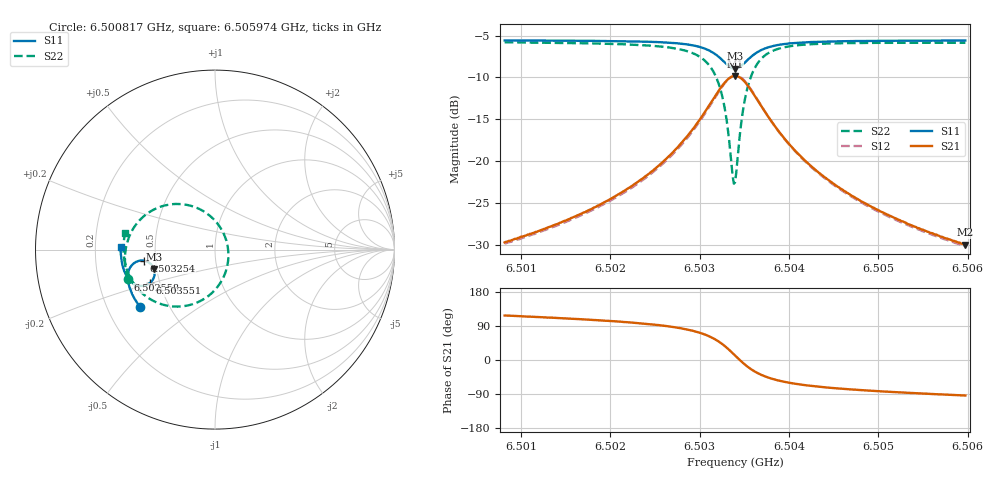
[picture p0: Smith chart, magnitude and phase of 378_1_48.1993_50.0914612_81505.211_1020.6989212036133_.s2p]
#  HZ  S  RI  R  50.00
! Rohde & Schwarz Vector Network Analyzer
! Rohde-Schwarz,ZNB20-2Port,1311601062101988,3.16
! Created: UTC 3/20/2024, 11:52:59 AM
! freq[Hz]  re:S11  im:S11  re:S21  im:S21  re:S12  im:S12  re:S22  im:S22
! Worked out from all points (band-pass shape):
!   401 points, 6.500817 GHz to 6.505974 GHz, reference 50 ohm
!   highest |S21| = -9.82 dB at 6.503396 GHz (marker M1); lowest = -30.0 dB at 6.505974 GHz (marker M2)
!   |S21| within 3 dB of the highest: 6.503138 GHz to 6.503654 GHz (515.9 kHz wide, 0.00793 % of centre)
!   lowest |S11| = -9.0 dB at 6.503396 GHz (marker M3), VSWR 2.11, Z = 24.2 - j6.08 ohm
!   |S11| at or under -10 dB: nowhere
!   |S22| runs from -22.7 to -5.8 dB; largest |S21 - S12| = 0.011
!   S11 on the Smith chart (normalised r, x): 6.500817 GHz: 0.34, -0.30; 6.502558 GHz: 0.33, -0.15; 6.503254 GHz: 0.43, -0.06; 6.503551 GHz: 0.44, -0.20; 6.505974 GHz: 0.31, +0.01
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6.5008174e9  -0.4201 -0.3174  -0.015 0.029  -0.0134 0.0292  -0.4859 -0.1664
6.5016812e9  -0.4582 -0.2546  -0.0145 0.0463  -0.0121 0.046  -0.5012 -0.0765
6.5021711e9  -0.4759 -0.2117  -0.0117 0.0662  -0.0087 0.065  -0.4992 -0.0084
6.502545e9  -0.4852 -0.1712  -0.00331 0.0942  0.000409 0.0919  -0.4813 0.0645
6.5025579e9  -0.4854 -0.1696  -0.00275 0.0956  0.000924 0.0932  -0.4802 0.0675
6.5028028e9  -0.4848 -0.1345  0.0154 0.1285  0.0192 0.1247  -0.4423 0.1367
6.5029833e9  -0.4737 -0.1014  0.0495 0.1642  0.0528 0.1589  -0.3747 0.2026
6.5031509e9  -0.4394 -0.0684  0.1262 0.1974  0.1273 0.191  -0.2344 0.2534
6.503254e9  -0.3972 -0.0614  0.2104 0.189  0.2106 0.1837  -0.0879 0.2266
6.5033056e9  -0.3719 -0.0697  0.2581 0.1616  0.2588 0.1571  -0.00855 0.1702
6.5033701e9  -0.3457 -0.0955  0.3055 0.0992  0.3079 0.0942  0.0631 0.0506
6.5033959e9  -0.3394 -0.1098  0.3157 0.0677  0.3187 0.0619  0.074 -0.00837
6.5034087e9  -0.3375 -0.1173  0.3185 0.0512  0.3215 0.045  0.0749 -0.0385
6.5034861e9  -0.3431 -0.1615  0.3021 -0.042  0.3041 -0.0517  0.0189 -0.2014
6.5035506e9  -0.3639 -0.1869  0.2604 -0.0955  0.2593 -0.1065  -0.0754 -0.2831
6.5036537e9  -0.4027 -0.2021  0.1873 -0.1315  0.1821 -0.1406  -0.2225 -0.3173
6.5038213e9  -0.4482 -0.1924  0.1069 -0.129  0.1001 -0.1339  -0.3671 -0.2722
6.5040018e9  -0.4753 -0.171  0.0631 -0.1095  0.0571 -0.1117  -0.4382 -0.2085
6.5042596e9  -0.4959 -0.1409  0.0336 -0.0858  0.0289 -0.0863  -0.4813 -0.1372
6.5046722e9  -0.5122 -0.0988  0.014 -0.062  0.0109 -0.0617  -0.5043 -0.0588
6.5051234e9  -0.5211 -0.0576  0.00488 -0.0469  0.00274 -0.0463  -0.5098 0.00273
6.5059743e9  -0.5258 0.014  -0.00208 -0.0316  -0.00341 -0.0308  -0.5016 0.0913
